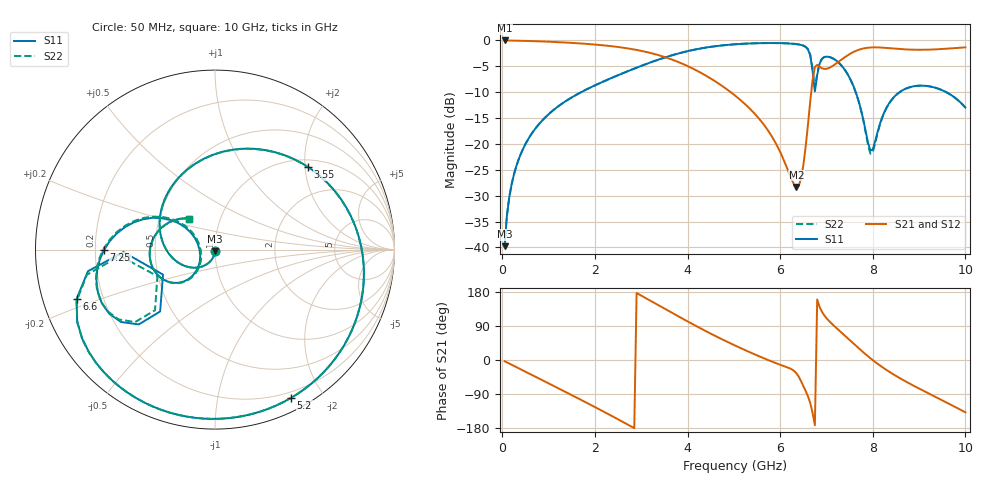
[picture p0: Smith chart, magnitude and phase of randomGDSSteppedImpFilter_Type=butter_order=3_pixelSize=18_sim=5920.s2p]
! freq	dB(S11)	phase(S11)	dB(S12)	phase(S12)
!  dB(S21)	phase(S21)	dB(S22)	phase(S22)
!S-par simulation data
#  GHz  S  DB  R 50
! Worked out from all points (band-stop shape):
!   200 points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, 50 MHz to 10 GHz, reference 50 ohm
!   highest |S21| = -0.01 dB at 50 MHz (marker M1); lowest = -28.3 dB at 6.35 GHz (marker M2)
!   |S21| within 3 dB of the highest: start of sweep to 3.434 GHz; 7.436 GHz to end of sweep
!   lowest |S11| = -39.8 dB at 50 MHz (marker M3), VSWR 1.02, Z = 50 - j1.03 ohm
!   |S11| at or under -10 dB: start of sweep to 1.702 GHz; 7.632 GHz to 8.579 GHz (947.1 MHz wide, 11.7 % of centre); 9.588 GHz to end of sweep
!   |S22| runs from -39.8 to -0.5 dB; largest |S21 - S12| = 0
!   S11 on the Smith chart (normalised r, x): 50 MHz: 1.00, -0.02; 3.55 GHz: 1.17, +2.07; 5.2 GHz: 0.14, -1.63; 6.6 GHz: 0.10, -0.17; 7.25 GHz: 0.24, -0.00; 10 GHz: 0.71, +0.26
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0.05  -39.76 -92.1  -0.01 -3.1  -0.01 -3.1  -39.76 -92.1
0.2  -27.86 -102.3  -0.03 -12.4  -0.03 -12.4  -27.86 -102.3
0.5  -20.03 -121.3  -0.09 -30.9  -0.09 -30.9  -20.03 -121.4
1.15  -13.13 -161.6  -0.31 -70.9  -0.31 -70.9  -13.13 -161.8
1.75  -9.78 160.9  -0.62 -108.3  -0.62 -108.3  -9.78 160.7
2.6  -6.35 106.1  -1.39 -163.1  -1.39 -163.1  -6.35 105.8
3.4  -3.62 51.9  -2.91 142.7  -2.91 142.7  -3.62 51.6
3.55  -3.18 41.6  -3.34 132.4  -3.34 132.4  -3.18 41.3
4.3  -1.52 -8.4  -6.31 82.3  -6.31 82.3  -1.52 -8.7
5.05  -0.73 -54.2  -10.82 36.9  -10.82 36.9  -0.73 -54.3
5.2  -0.64 -62.8  -11.97 28.4  -11.97 28.4  -0.64 -62.9
6.35  -0.71 -132.2  -28.32 -34.9  -28.32 -34.9  -0.70 -132.0
6.6  -1.74 -160.4  -16.34 -95.5  -16.34 -95.5  -1.68 -159.4
6.7  -5.84 -178.5  -7.61 -139.5  -7.61 -139.5  -5.50 -176.2
6.75  -9.86 -154.3  -5.14 -172.2  -5.14 -172.2  -9.04 -155.3
6.85  -4.51 -135.5  -5.07 140.6  -5.07 140.6  -4.42 -137.8
7.25  -4.18 -179.9  -4.20 80.4  -4.20 80.4  -4.19 179.1
7.65  -10.45 146.4  -1.97 36.0  -1.97 36.0  -10.51 144.9
7.95  -21.29 -179.7  -1.37 4.5  -1.37 4.5  -21.92 179.6
8.35  -12.18 -134.1  -1.49 -30.6  -1.49 -30.6  -12.23 -133.2
9.15  -8.78 -178.3  -1.79 -84.7  -1.79 -84.7  -8.79 -178.0
10  -12.98 129.5  -1.34 -138.1  -1.34 -138.1  -12.99 129.8
